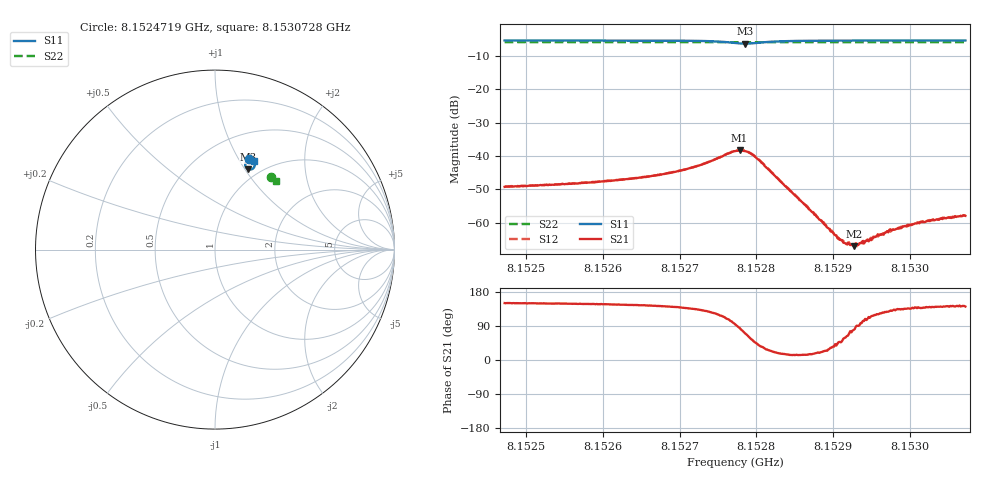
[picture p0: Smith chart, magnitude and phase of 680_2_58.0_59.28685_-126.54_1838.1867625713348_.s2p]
#  HZ  S  RI  R  50.00
! Rohde & Schwarz Vector Network Analyzer
! Rohde-Schwarz,ZNB20-2Port,1311601062101988,3.16
! Created: UTC 3/21/2024, 1:20:49 AM
! freq[Hz]  re:S11  im:S11  re:S21  im:S21  re:S12  im:S12  re:S22  im:S22
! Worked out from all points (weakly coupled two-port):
!   401 points, 8.1524719 GHz to 8.1530728 GHz, reference 50 ohm
!   highest |S21| = -38.27 dB at 8.1527783 GHz (marker M1); lowest = -67.0 dB at 8.1529271 GHz (marker M2)
!   lowest |S11| = -6.3 dB at 8.1527859 GHz (marker M3), VSWR 2.88, Z = 44.3 + j51.8 ohm
!   |S11| at or under -10 dB: nowhere
!   |S22| runs from -5.9 to -5.8 dB; largest |S21 - S12| = 0.00027
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8.15247187e9  0.1893 0.5064  -0.00299 0.00171  -0.00304 0.00178  0.3099 0.4065
8.15257252e9  0.1982 0.5028  -0.00335 0.00209  -0.00335 0.00214  0.3149 0.4024
8.15262511e9  0.2034 0.5001  -0.00365 0.00246  -0.00368 0.00254  0.3178 0.4002
8.15267318e9  0.2095 0.4962  -0.00411 0.00314  -0.00411 0.00321  0.3201 0.3981
8.15272276e9  0.2182 0.4864  -0.00486 0.00511  -0.00482 0.0052  0.3226 0.3956
8.15277234e9  0.2093 0.4498  -0.000889 0.0118  -0.00085 0.0119  0.3239 0.3925
8.15277835e9  0.1995 0.4462  0.00111 0.0122  0.00134 0.0121  0.3239 0.3924
8.15278586e9  0.1852 0.4477  0.00409 0.0111  0.00415 0.0112  0.3236 0.3923
8.15279337e9  0.1739 0.4563  0.00616 0.00884  0.00627 0.00898  0.3237 0.3926
8.15280238e9  0.1686 0.47  0.00673 0.00581  0.00698 0.00587  0.3241 0.3927
8.15282943e9  0.1783 0.4931  0.0042 0.00134  0.00428 0.00135  0.3261 0.3924
8.15287299e9  0.1935 0.4995  0.00139 0.000382  0.00141 0.000392  0.3286 0.3907
8.15290755e9  0.2005 0.4995  0.000402 0.000433  0.000406 0.000395  0.3307 0.389
8.15291656e9  0.202 0.4993  0.000247 0.00042  0.000245 0.000418  0.3311 0.3887
8.15292708e9  0.2033 0.4992  8.25e-05 0.000439  9.9e-05 0.000437  0.3316 0.3883
8.15293008e9  0.2037 0.499  9.26e-06 0.000462  2.12e-05 0.000493  0.3318 0.3881
8.15293459e9  0.2045 0.499  -1.43e-05 0.000492  -3.32e-05 0.000487  0.332 0.388
8.15297365e9  0.209 0.498  -0.00049 0.000607  -0.000471 0.00059  0.3339 0.3863
8.15299168e9  0.2109 0.4975  -0.000606 0.000633  -0.000607 0.000651  0.335 0.3855
8.1530082e9  0.2126 0.4969  -0.000731 0.000647  -0.000733 0.000695  0.3357 0.3847
8.15304276e9  0.2156 0.496  -0.000871 0.000725  -0.000913 0.00075  0.3373 0.3832
8.15307281e9  0.2181 0.495  -0.000987 0.000795  -0.00103 0.00079  0.3387 0.3818
